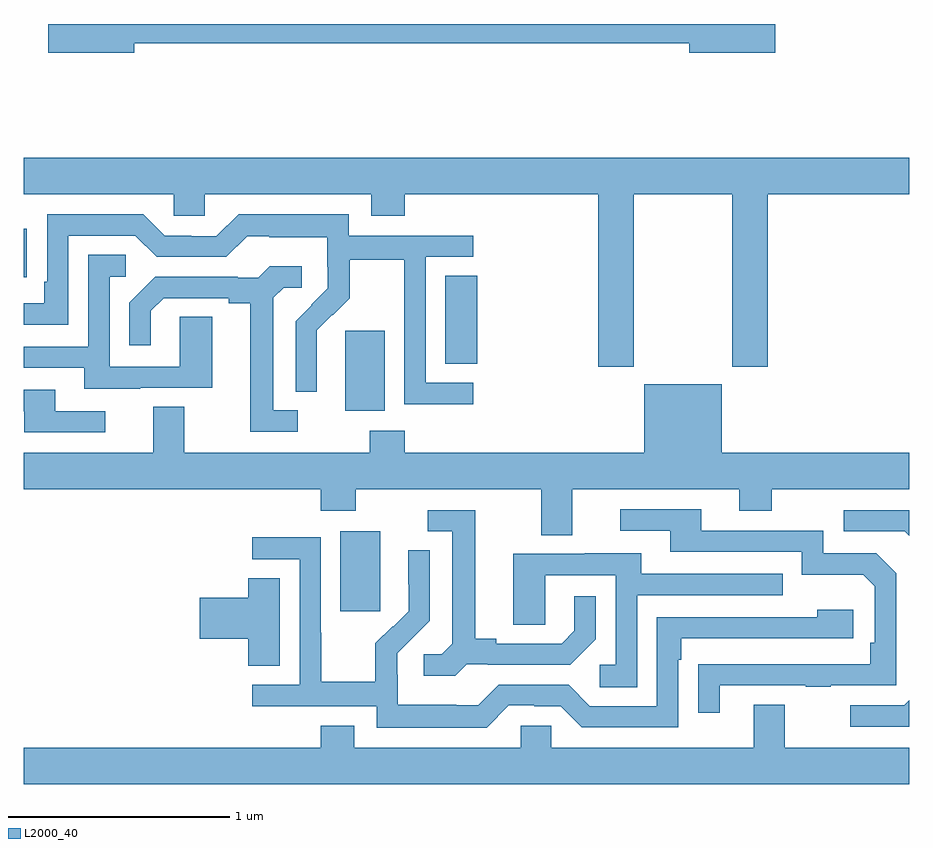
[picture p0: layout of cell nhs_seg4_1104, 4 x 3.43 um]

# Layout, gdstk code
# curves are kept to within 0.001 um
import gdstk
lib = gdstk.Library(unit=1e-6, precision=1e-09)
def R(c, l, rs):  # rectangles x0, y0, x1, y1
    for r in rs: c.add(gdstk.rectangle(r[:2], r[2:], *l))
def P(c, l, *ps):  # polygons
    for p in ps: c.add(gdstk.Polygon(p, *l))
L2000_40 = (2000, 40)

nhs_seg4_1104 = lib.new_cell('nhs_seg4_1104')
R(nhs_seg4_1104, L2000_40, [(168.431,816.249,168.61,816.61), (168.452,817.154,168.631,817.515), (168.905,817.366,169.049,817.763), (167,817.756,167.015,817.975)])
P(nhs_seg4_1104, L2000_40, [(167.5,818.812),(170.006,818.812),(170.006,818.77),(170.395,818.77),(170.395,818.9),(167.112,818.9),(167.112,818.77),(167.5,818.77)],
  [(169.755,818.132),(170.2,818.132),(170.2,817.353),(170.36,817.353),(170.36,818.132),(171,818.132),(171,818.296),(167,818.296),(167,818.132),(167.679,818.132),(167.679,818.034),(167.817,818.034),(167.817,818.132),(168.569,818.132),(168.569,818.033),(168.722,818.033),(168.722,818.132),(169.595,818.132),(169.595,817.353),(169.755,817.353)],
  [(169.03,817.281),(168.816,817.281),(168.816,817.848),(169.03,817.848),(169.03,817.944),(168.468,817.944),(168.468,818.041),(167.971,818.041),(167.871,817.941),(167.756,817.941),(167.756,817.944),(167.637,817.944),(167.541,818.04),(167.106,818.04),(167.106,817.735),(167.093,817.735),(167.093,817.638),(167,817.638),(167,817.542),(167.202,817.542),(167.202,817.944),(167.505,817.944),(167.601,817.848),(167.916,817.848),(168.009,817.941),(168.109,817.941),(168.109,817.937),(168.372,817.937),(168.372,817.803),(168.374,817.803),(168.374,817.706),(168.228,817.558),(168.228,817.24),(168.324,817.24),(168.323,817.517),(168.393,817.587),(168.396,817.584),(168.473,817.661),(168.473,817.836),(168.718,817.836),(168.718,817.612),(168.72,817.612),(168.72,817.183),(169.03,817.183)],
  [(167.527,817.257),(167.851,817.257),(167.851,817.577),(167.706,817.577),(167.706,817.353),(167.388,817.353),(167.388,817.758),(167.461,817.758),(167.461,817.859),(167.292,817.859),(167.292,817.443),(167,817.443),(167,817.347),(167.273,817.347),(167.273,817.253),(167.527,817.253)],
  [(168.238,817.155),(168.127,817.155),(168.127,817.663),(168.174,817.71),(168.256,817.71),(168.256,817.807),(168.112,817.807),(168.06,817.755),(167.966,817.755),(167.966,817.758),(167.594,817.758),(167.478,817.642),(167.478,817.449),(167.575,817.449),(167.575,817.605),(167.632,817.662),(167.927,817.662),(167.927,817.64),(168.023,817.64),(168.023,817.059),(168.238,817.059)],
  [(169.477,816.8),(170.231,816.8),(170.231,816.701),(170.379,816.701),(170.379,816.8),(171,816.8),(171,816.964),(170.152,816.964),(170.152,817.273),(169.802,817.273),(169.802,816.964),(168.722,816.964),(168.722,817.063),(168.562,817.063),(168.562,816.964),(167.725,816.964),(167.725,817.172),(167.585,817.172),(167.585,816.964),(167,816.964),(167,816.8),(168.341,816.8),(168.341,816.701),(168.501,816.701),(168.501,816.8),(169.337,816.8),(169.337,816.592),(169.477,816.592)],
  [(167.368,817.152),(167.143,817.152),(167.143,817.248),(167,817.248),(167,817.152),(167.003,817.152),(167.003,817.056),(167.368,817.056)],
  [(170.143,815.913),(170.533,815.913),(170.533,815.908),(170.645,815.908),(170.645,815.913),(170.94,815.913),(170.94,816.42),(170.85,816.51),(170.61,816.51),(170.61,816.612),(170.059,816.612),(170.059,816.708),(169.695,816.708),(169.695,816.612),(169.919,816.612),(169.919,816.516),(170.514,816.516),(170.514,816.413),(170.791,816.413),(170.844,816.36),(170.844,816.106),(170.824,816.106),(170.824,816.009),(170.047,816.008),(170.047,815.79),(170.143,815.79)],
  [(171,816.705),(170.703,816.705),(170.703,816.609),(170.979,816.609),(171,816.588)],
  [(169.002,816.009),(169.096,816.009),(169.096,816.006),(169.468,816.006),(169.584,816.122),(169.584,816.316),(169.487,816.316),(169.487,816.159),(169.43,816.102),(169.135,816.102),(169.135,816.125),(169.039,816.125),(169.039,816.705),(168.825,816.705),(168.825,816.609),(168.935,816.609),(168.935,816.101),(168.888,816.054),(168.807,816.054),(168.807,815.957),(168.95,815.957)],
  [(169.191,815.823),(169.307,815.823),(169.307,815.82),(169.425,815.82),(169.521,815.724),(169.956,815.724),(169.956,816.029),(169.969,816.029),(169.969,816.126),(170.746,816.126),(170.746,816.256),(170.585,816.256),(170.585,816.222),(169.86,816.222),(169.86,815.82),(169.557,815.82),(169.461,815.916),(169.146,815.916),(169.053,815.823),(168.953,815.823),(168.953,815.827),(168.69,815.827),(168.69,815.961),(168.688,815.961),(168.688,816.058),(168.834,816.206),(168.834,816.524),(168.738,816.524),(168.738,816.37),(168.74,816.37),(168.74,816.248),(168.669,816.177),(168.666,816.18),(168.589,816.103),(168.589,815.929),(168.345,815.929),(168.345,816.152),(168.342,816.152),(168.342,816.582),(168.033,816.582),(168.033,816.483),(168.246,816.483),(168.246,815.916),(168.033,815.916),(168.033,815.82),(168.594,815.82),(168.594,815.723),(169.091,815.723)],
  [(169.77,816.321),(170.429,816.321),(170.429,816.417),(169.789,816.417),(169.789,816.511),(169.535,816.511),(169.535,816.507),(169.211,816.507),(169.211,816.187),(169.356,816.187),(169.356,816.411),(169.674,816.411),(169.674,816.006),(169.602,816.006),(169.602,815.905),(169.77,815.905)],
  [(168.157,816.398),(168.014,816.398),(168.014,816.308),(167.796,816.308),(167.796,816.125),(168.014,816.125),(168.014,816.001),(168.157,816.001)],
  [(171,815.847),(170.976,815.823),(170.733,815.823),(170.733,815.727),(171,815.727)],
  [(171,815.632),(170.437,815.632),(170.437,815.827),(170.297,815.827),(170.297,815.632),(169.383,815.632),(169.383,815.73),(169.245,815.73),(169.245,815.632),(168.493,815.632),(168.493,815.731),(168.341,815.731),(168.341,815.632),(167,815.632),(167,815.468),(171,815.468)])

lib.write_gds('nhs_seg4_1104.gds')
